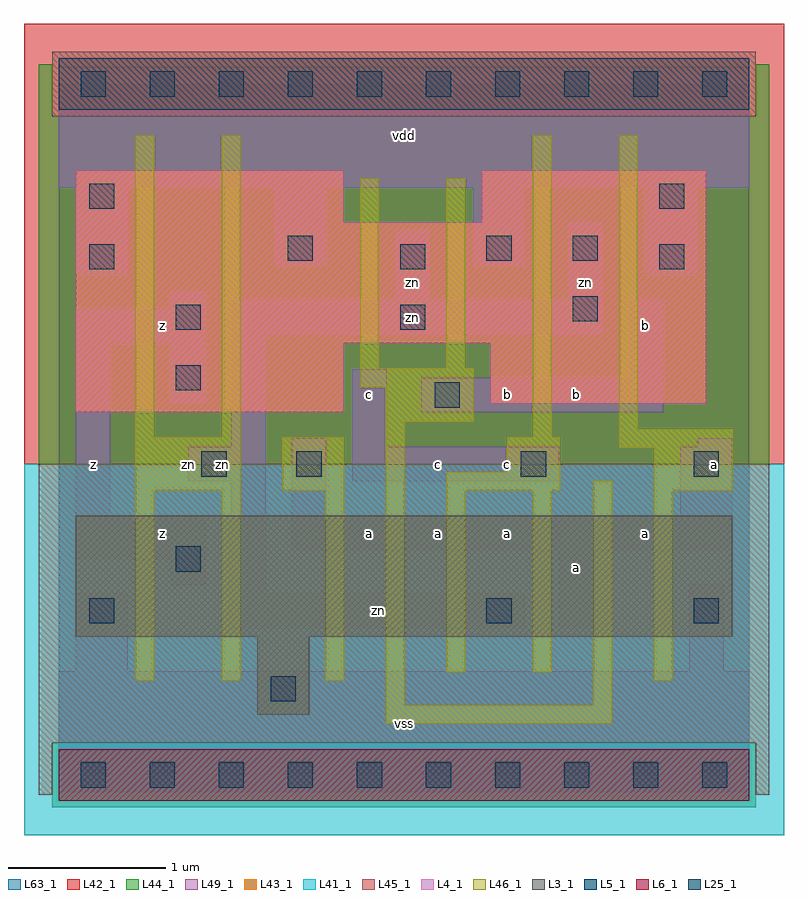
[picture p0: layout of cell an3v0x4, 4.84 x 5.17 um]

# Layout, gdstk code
import gdstk
lib = gdstk.Library(unit=1e-6, precision=1e-09)
def R(c, l, rs):  # rectangles x0, y0, x1, y1
    for r in rs: c.add(gdstk.rectangle(r[:2], r[2:], *l))
def A(c, l, x, y, w, h, nx, ny, dx, dy):  # array of equal rectangles
    R(c, l, [(x+i*dx, y+j*dy, x+i*dx+w, y+j*dy+h) for i in range(nx) for j in range(ny)])
L3_1 = (3, 1)
L4_1 = (4, 1)
L5_1 = (5, 1)
L6_1 = (6, 1)
L25_1 = (25, 1)
L41_1 = (41, 1)
L42_1 = (42, 1)
L43_1 = (43, 1)
L44_1 = (44, 1)
L45_1 = (45, 1)
L46_1 = (46, 1)
L49_1 = (49, 1)
L63_1 = (63, 1)

an3v0x4 = lib.new_cell('an3v0x4')
R(an3v0x4, L3_1, [(1.265,0.385,1.595,0.88), (0.11,0.88,4.29,1.65)])
R(an3v0x4, L4_1, [(0.11,2.31,1.815,2.75), (2.75,2.365,4.125,2.75), (0.11,2.75,4.125,3.52), (0.11,3.52,1.815,3.85), (2.695,3.52,4.125,3.85)])
R(an3v0x4, L5_1, [(0,4.235,4.4,4.565)])
R(an3v0x4, L6_1, [(0,-0.165,4.4,0.165)])
A(an3v0x4, L25_1, 0.14, -0.08, 0.16, 0.16, 10, 2, 0.44, 4.4)
R(an3v0x4, L25_1, [(1.35,0.47,1.51,0.63), (0.195,0.965,0.355,1.125), (2.725,0.965,2.885,1.125), (4.045,0.965,4.205,1.125), (0.745,1.295,0.905,1.455), (0.91,1.9,1.07,2.06), (1.515,1.9,1.675,2.06), (2.945,1.9,3.105,2.06), (4.045,1.9,4.205,2.06), (2.395,2.34,2.555,2.5), (0.745,2.45,0.905,2.61), (0.745,2.835,0.905,2.995), (2.175,2.835,2.335,2.995), (3.275,2.89,3.435,3.05), (0.195,3.22,0.355,3.38), (2.175,3.22,2.335,3.38), (3.825,3.22,3.985,3.38), (1.46,3.275,1.62,3.435), (2.725,3.275,2.885,3.435), (3.275,3.275,3.435,3.435), (0.195,3.605,0.355,3.765), (3.825,3.605,3.985,3.765)])
R(an3v0x4, L41_1, [(-0.22,-0.385,4.62,1.98)])
R(an3v0x4, L42_1, [(-0.22,1.98,4.62,4.785)])
R(an3v0x4, L43_1, [(0,-0.165,4.4,0.165), (1.265,0.385,1.595,0.88), (0.11,0.88,4.29,1.65), (0.11,2.31,1.815,2.75), (2.75,2.365,4.125,2.75), (0.11,2.75,4.125,3.52), (0.11,3.52,1.815,3.85), (2.695,3.52,4.125,3.85), (0,4.235,4.4,4.565)])
R(an3v0x4, L44_1, [(-0.04,-0.205,4.44,0.205), (-0.125,1.98,4.525,4.195), (-0.125,4.195,-0.04,4.525), (4.44,4.195,4.525,4.525)])
R(an3v0x4, L45_1, [(-0.125,-0.125,-0.04,0.205), (4.44,-0.125,4.525,0.205), (-0.125,0.205,4.525,1.98), (-0.04,4.195,4.44,4.605)])
R(an3v0x4, L46_1, [(2.085,0.325,3.525,0.445), (2.085,0.445,2.205,2.25), (3.405,0.445,3.525,1.875), (0.49,0.6,0.61,1.81), (1.04,0.6,1.16,1.81), (1.7,0.6,1.82,1.81), (3.79,0.6,3.91,1.81), (2.47,0.655,2.59,1.81), (3.02,0.655,3.14,1.81), (0.49,1.81,1.16,2.15), (1.425,1.81,1.82,2.15), (2.47,1.81,3.195,1.93), (3.79,1.81,4.295,2.085), (2.855,1.93,3.195,2.15), (3.57,2.085,4.295,2.205), (0.49,2.15,0.61,4.075), (1.04,2.15,1.16,4.075), (3.02,2.15,3.14,4.075), (3.57,2.205,3.69,4.075), (2.085,2.25,2.645,2.47), (1.92,2.47,2.645,2.59), (1.92,2.59,2.04,3.8), (2.47,2.59,2.59,3.8)])
R(an3v0x4, L49_1, [(0,-0.11,4.4,0.66), (0.11,0.66,0.44,1.155), (4.015,0.66,4.235,1.21), (1.1,0.935,2.97,1.155), (3.19,0.935,3.41,1.43), (1.1,1.155,1.32,1.87), (0.715,1.21,0.935,1.375), (0.11,1.375,0.935,1.65), (1.485,1.43,4.29,1.65), (0.11,1.65,0.33,2.75), (1.485,1.65,1.705,2.145), (3.96,1.65,4.29,2.09), (0.825,1.87,1.32,2.09), (1.87,1.87,3.19,2.09), (1.1,2.09,1.32,2.805), (1.87,2.09,2.09,2.585), (4.07,2.09,4.29,2.145), (2.31,2.31,3.85,2.53), (0.715,2.365,0.935,2.75), (3.63,2.53,3.85,3.025), (0.11,2.75,0.935,2.97), (1.1,2.805,3.465,3.025), (0.715,2.97,0.935,3.08), (2.145,3.025,2.365,3.465), (3.245,3.025,3.465,3.52), (0.11,3.19,0.44,3.74), (3.74,3.19,4.07,3.74), (1.375,3.245,1.705,3.74), (2.64,3.245,2.97,3.74), (0,3.74,4.4,4.51)])
R(an3v0x4, L63_1, [(0,0,4.4,4.4)])
an3v0x4.add(gdstk.Label('zn', (0.825,1.98), layer=46, texttype=1))
an3v0x4.add(gdstk.Label('z', (0.22,1.98), layer=49, texttype=1))
an3v0x4.add(gdstk.Label('z', (0.66,1.54), layer=49, texttype=1))
an3v0x4.add(gdstk.Label('zn', (1.045,1.98), layer=49, texttype=1))
an3v0x4.add(gdstk.Label('z', (0.66,2.86), layer=49, texttype=1))
an3v0x4.add(gdstk.Label('vss', (2.2,0.33), layer=49, texttype=1))
an3v0x4.add(gdstk.Label('a', (2.42,1.54), layer=49, texttype=1))
an3v0x4.add(gdstk.Label('a', (1.98,1.54), layer=49, texttype=1))
an3v0x4.add(gdstk.Label('c', (2.42,1.98), layer=49, texttype=1))
an3v0x4.add(gdstk.Label('c', (1.98,2.42), layer=49, texttype=1))
an3v0x4.add(gdstk.Label('zn', (2.255,3.135), layer=49, texttype=1))
an3v0x4.add(gdstk.Label('vdd', (2.2,4.07), layer=49, texttype=1))
an3v0x4.add(gdstk.Label('a', (2.86,1.54), layer=49, texttype=1))
an3v0x4.add(gdstk.Label('zn', (2.035,1.045), layer=49, texttype=1))
an3v0x4.add(gdstk.Label('a', (3.3,1.32), layer=49, texttype=1))
an3v0x4.add(gdstk.Label('c', (2.86,1.98), layer=49, texttype=1))
an3v0x4.add(gdstk.Label('b', (2.86,2.42), layer=49, texttype=1))
an3v0x4.add(gdstk.Label('b', (3.3,2.42), layer=49, texttype=1))
an3v0x4.add(gdstk.Label('zn', (2.255,2.915), layer=49, texttype=1))
an3v0x4.add(gdstk.Label('zn', (3.355,3.135), layer=49, texttype=1))
an3v0x4.add(gdstk.Label('a', (3.74,1.54), layer=49, texttype=1))
an3v0x4.add(gdstk.Label('a', (4.18,1.98), layer=49, texttype=1))
an3v0x4.add(gdstk.Label('b', (3.74,2.86), layer=49, texttype=1))

lib.write_gds('an3v0x4.gds')
